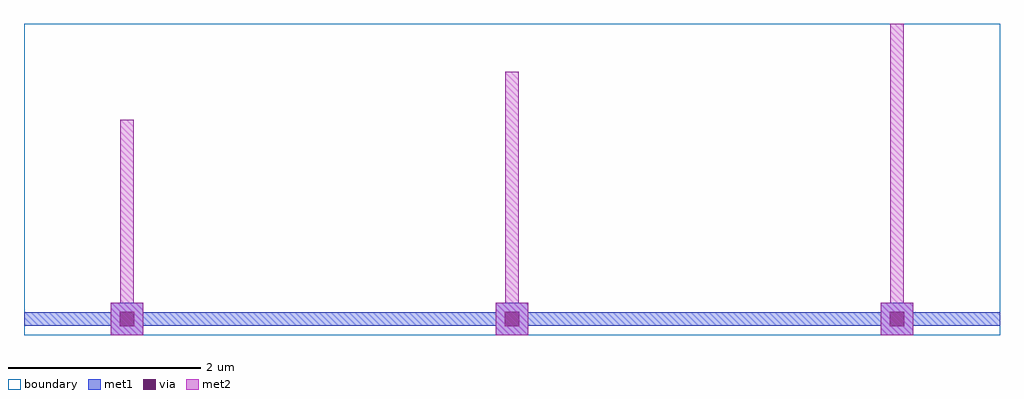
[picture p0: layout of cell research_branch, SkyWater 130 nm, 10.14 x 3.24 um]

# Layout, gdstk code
import gdstk
lib = gdstk.Library(unit=1e-6, precision=1e-09)
def R(c, l, rs):  # rectangles x0, y0, x1, y1
    for r in rs: c.add(gdstk.rectangle(r[:2], r[2:], *l))
def A(c, l, x, y, w, h, nx, ny, dx, dy):  # array of equal rectangles
    R(c, l, [(x+i*dx, y+j*dy, x+i*dx+w, y+j*dy+h) for i in range(nx) for j in range(ny)])
met1 = (68, 20)
via = (68, 44)
met2 = (69, 20)
boundary = (235, 4)

research_branch = lib.new_cell('research_branch')
A(research_branch, met1, 0.9, 0, 0.34, 0.34, 3, 1, 4, 0)
R(research_branch, met1, [(0,0.1,10.14,0.24)])
A(research_branch, via, 0.995, 0.095, 0.15, 0.15, 3, 1, 4, 0)
A(research_branch, met2, 0.9, 0, 0.34, 0.34, 3, 1, 4, 0)
R(research_branch, met2, [(1,0.1,1.14,2.24), (5,0.1,5.14,2.74), (9,0.1,9.14,3.24)])
R(research_branch, boundary, [(0,0,10.14,3.24)])

lib.write_gds('research_branch.gds')
